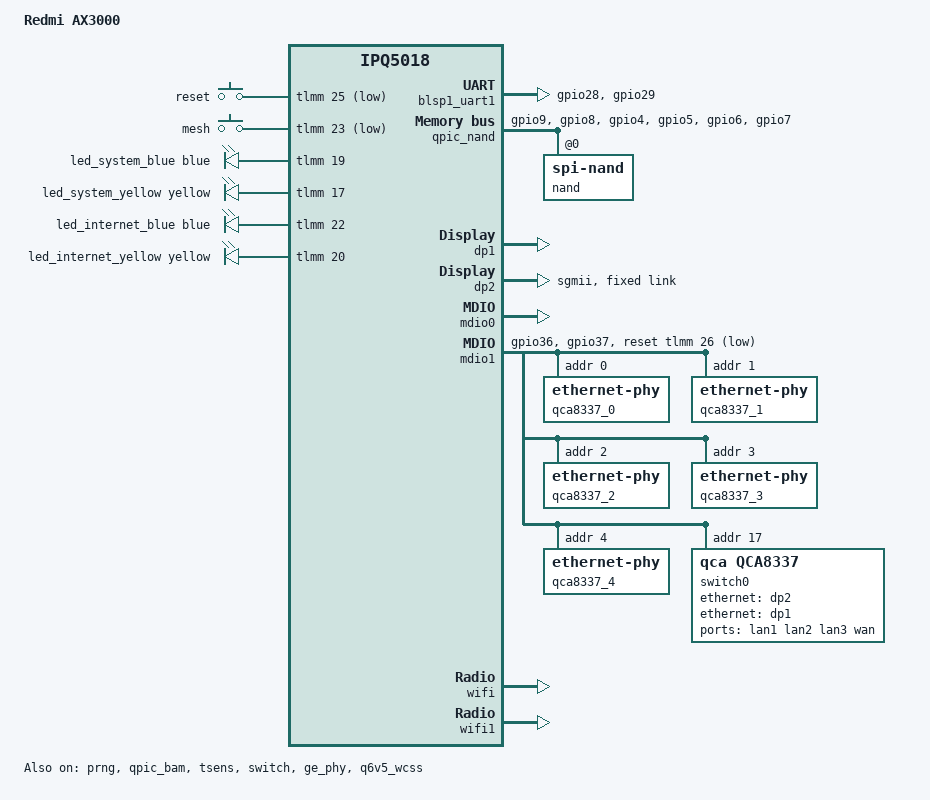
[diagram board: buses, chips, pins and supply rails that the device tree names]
// SPDX-License-Identifier: (GPL-2.0+)
/*
 * Redmi AX3000 / Xiaomi CR8806 / CR8808 / CR8809 (CR880X series)
 *
 * Hardware:
 *   - IPQ5018 (2x Cortex-A53) with internal GE PHY + 2.4G WiFi
 *   - QCN6122 5G WiFi (attached to PCIE1, reset GPIO 27)
 *   - QCA8337 switch (LAN1-3 + WAN), SPI NAND 128MB, 256MB RAM
 *
 * Adapted from kmiit/Redmi_AX3000_immortalwrt (redmi_ax3000-24.10)
 * to ImmortalWrt openwrt-25.12 (kernel 6.12, upstream-style DTS).
 */

/dts-v1/;

#include "ipq5018.dtsi"
#include "ipq5018-ess.dtsi"
#include "ipq5018-qcn6122.dtsi"

#include <dt-bindings/gpio/gpio.h>
#include <dt-bindings/input/input.h>
#include <dt-bindings/leds/common.h>

/ {
	model = "Redmi AX3000";
	compatible = "redmi,ax3000", "qcom,ipq5018";

	aliases {
		label-mac-device = &dp1;
		serial0 = &blsp1_uart1;

		ethernet0 = &dp1;
		ethernet1 = &dp2;

		led-boot = &led_system_blue;
		led-failsafe = &led_system_yellow;
		led-running = &led_system_blue;
		led-upgrade = &led_system_yellow;
	};

	chosen {
		/* Override the root parameter from u-boot;
		 * increase coherent_pool size for WiFi */
		bootargs-append = " root=/dev/ubiblock0_1 coherent_pool=2M";
		stdout-path = "serial0:115200n8";
	};

	keys {
		compatible = "gpio-keys";
		pinctrl-0 = <&button_pins>;
		pinctrl-names = "default";

		button-0 {
			label = "reset";
			gpios = <&tlmm 25 GPIO_ACTIVE_LOW>;
			linux,code = <KEY_RESTART>;
			debounce-interval = <60>;
		};

		button-1 {
			label = "mesh";
			gpios = <&tlmm 23 GPIO_ACTIVE_LOW>;
			linux,code = <KEY_WPS_BUTTON>;
			debounce-interval = <60>;
		};
	};

	leds {
		compatible = "gpio-leds";
		pinctrl-0 = <&led_pins>;
		pinctrl-names = "default";

		led_system_blue: led-0 {
			gpios = <&tlmm 19 GPIO_ACTIVE_HIGH>;
			color = <LED_COLOR_ID_BLUE>;
			function = LED_FUNCTION_STATUS;
			default-state = "on";
		};

		led_system_yellow: led-1 {
			gpios = <&tlmm 17 GPIO_ACTIVE_HIGH>;
			color = <LED_COLOR_ID_YELLOW>;
			function = LED_FUNCTION_STATUS;
		};

		led_internet_blue: led-2 {
			gpios = <&tlmm 22 GPIO_ACTIVE_HIGH>;
			color = <LED_COLOR_ID_BLUE>;
			function = LED_FUNCTION_WAN;
		};

		led_internet_yellow: led-3 {
			gpios = <&tlmm 20 GPIO_ACTIVE_HIGH>;
			color = <LED_COLOR_ID_YELLOW>;
			function = LED_FUNCTION_WAN;
		};
	};
};

&blsp1_uart1 {
	pinctrl-0 = <&serial_0_pins>;
	pinctrl-names = "default";
	status = "okay";
};

&prng {
	status = "okay";
};

&qpic_bam {
	status = "okay";
};

&qpic_nand {
	pinctrl-0 = <&qpic_pins>;
	pinctrl-names = "default";
	status = "okay";

	nand@0 {
		compatible = "spi-nand";
		reg = <0>;

		nand-ecc-engine = <&qpic_nand>;
		nand-ecc-step-size = <512>;
		nand-ecc-strength = <8>;
		nand-bus-width = <8>;

		partitions {
			compatible = "qcom,smem-part";
		};
	};
};

&tsens {
	status = "okay";
};

/*
 * ===============================================================
 *     _______________________         _______________________
 *    |        IPQ5018        |       |        QCA8337        |
 *    | +------+   +--------+ |       | +--------+   +------+ |
 *    | | MAC0 |---| GE Phy |-+--UTP--+-|  Phy4  |---| MAC5 | |
 *    | +------+   +--------+ |       | +--------+   +------+ |
 *    | +------+   +--------+ |       | +--------+   +------+ |
 *    | | MAC1 |---| Uniphy |-+-SGMII-+-| SerDes |---| MAC0 | |
 *    | +------+   +--------+ |       | +--------+   +------+ |
 *    |_______________________|       |_______________________|
 *
 * ===============================================================
 */

&switch {
	status = "okay";

	switch_mac_mode = <MAC_MODE_SGMII_CHANNEL0>;

	qcom,port_phyinfo {
		// MAC0 -> GE Phy -> QCA8337 Phy4
		port@1 {
			port_id = <1>;
			mdiobus = <&mdio0>;
			phy_address = <7>;
		};

		// MAC1 ---SGMII---> QCA8337 SerDes
		port@2 {
			port_id = <2>;
			forced-speed = <1000>;
			forced-duplex = <1>;
		};
	};
};

// MAC0 -> GE Phy
&dp1 {
	status = "okay";
};

// MAC1 ---SGMII---> QCA8337 SerDes
&dp2 {
	status = "okay";
	phy-mode = "sgmii";

	fixed-link {
		speed = <1000>;
		full-duplex;
	};
};

&mdio0 {
	status = "okay";
};

// IPQ5018 GE Phy -> QCA8337 Phy4
&ge_phy {
	status = "okay";
	qcom,dac-preset-short-cable;
};

&mdio1 {
	pinctrl-0 = <&mdio1_pins>;
	pinctrl-names = "default";
	status = "okay";

	reset-gpios = <&tlmm 26 GPIO_ACTIVE_LOW>;

	// QCA8337 Phy0 -> LAN1
	qca8337_0: ethernet-phy@0 {
		reg = <0>;
	};

	// QCA8337 Phy1 -> LAN2
	qca8337_1: ethernet-phy@1 {
		reg = <1>;
	};

	// QCA8337 Phy2 -> LAN3
	qca8337_2: ethernet-phy@2 {
		reg = <2>;
	};

	// QCA8337 Phy3 -> WAN
	qca8337_3: ethernet-phy@3 {
		reg = <3>;
	};

	// QCA8337 Phy4 -> IPQ5018 GE Phy
	qca8337_4: ethernet-phy@4 {
		reg = <4>;
	};

	// QCA8337 switch
	switch0: ethernet-switch@17 {
		compatible = "qca,qca8337";
		reg = <17>;

		ports {
			#address-cells = <1>;
			#size-cells = <0>;

			switch0cpu: port@0 {
				reg = <0>;
				phy-mode = "sgmii";
				ethernet = <&dp2>;
				qca,sgmii-enable-pll;

				fixed-link {
					speed = <1000>;
					full-duplex;
				};
			};

			port@1 {
				reg = <1>;
				label = "lan1";
				phy-handle = <&qca8337_0>;
			};

			port@2 {
				reg = <2>;
				label = "lan2";
				phy-handle = <&qca8337_1>;
			};

			port@3 {
				reg = <3>;
				label = "lan3";
				phy-handle = <&qca8337_2>;
			};

			port@4 {
				reg = <4>;
				label = "wan";
				phy-handle = <&qca8337_3>;
			};

			port@5 {
				reg = <5>;
				phy-handle = <&qca8337_4>;
				phy-mode = "gmii";
				ethernet = <&dp1>;
			};
		};
	};
};

&tlmm {
	serial_0_pins: serial-0-state {
		pins = "gpio28", "gpio29";
		function = "blsp0_uart1";
		drive-strength = <8>;
		bias-disable;
	};

	qpic_pins: qpic-state {
		clock-pins {
			pins = "gpio9";
			function = "qspi_clk";
			drive-strength = <8>;
			bias-disable;
		};

		cs-pins {
			pins = "gpio8";
			function = "qspi_cs";
			drive-strength = <8>;
			bias-disable;
		};

		data-pins {
			pins = "gpio4", "gpio5", "gpio6", "gpio7";
			function = "qspi_data";
			drive-strength = <8>;
			bias-disable;
		};
	};

	mdio1_pins: mdio1-state {
		mdc-pins {
			pins = "gpio36";
			function = "mdc";
			drive-strength = <8>;
			bias-pull-up;
		};

		mdio-pins {
			pins = "gpio37";
			function = "mdio";
			drive-strength = <8>;
			bias-pull-up;
		};
	};

	led_pins: led-state {
		pins = "gpio17", "gpio19", "gpio20", "gpio22";
		function = "gpio";
		drive-strength = <8>;
		bias-pull-down;
	};

	button_pins: button-state {
		pins = "gpio23", "gpio25";
		function = "gpio";
		drive-strength = <8>;
		bias-pull-up;
	};
};

&q6v5_wcss {
	status = "okay";

	/* The QCN6122 radio should map to UPD ID 2 */
	boot-args = <
		/*       type: */	0x2	/* PCIE1 */
		/*     length: */	4
		/*     UPD ID: */	2
		/* reset GPIO: */	27
		/*   reserved: */	0 0>;
};

&wifi {
	// IPQ5018 2.4G
	status = "okay";

	qcom,rproc = <&q6_wcss_pd1>;

	// Overridden at runtime by /etc/hotplug.d/firmware/10-ath11k-board_id
	// M79: 0x10
	// M81: 0x24
	qcom,board_id = <0x24>;

	qcom,ath11k-fw-memory-mode = <2>;
	qcom,bdf-addr = <0x4c400000>;
};

&wifi1 {
	// QCN6122 5G
	status = "okay";

	qcom,rproc = <&q6_wcss_pd2>;
	qcom,userpd-subsys-name = "q6v5_wcss_userpd2";

	qcom,board_id = <0x60>;

	qcom,ath11k-fw-memory-mode = <2>;
	qcom,bdf-addr = <0x4d100000>;
	qcom,m3-dump-addr = <0x4df00000>;
};
